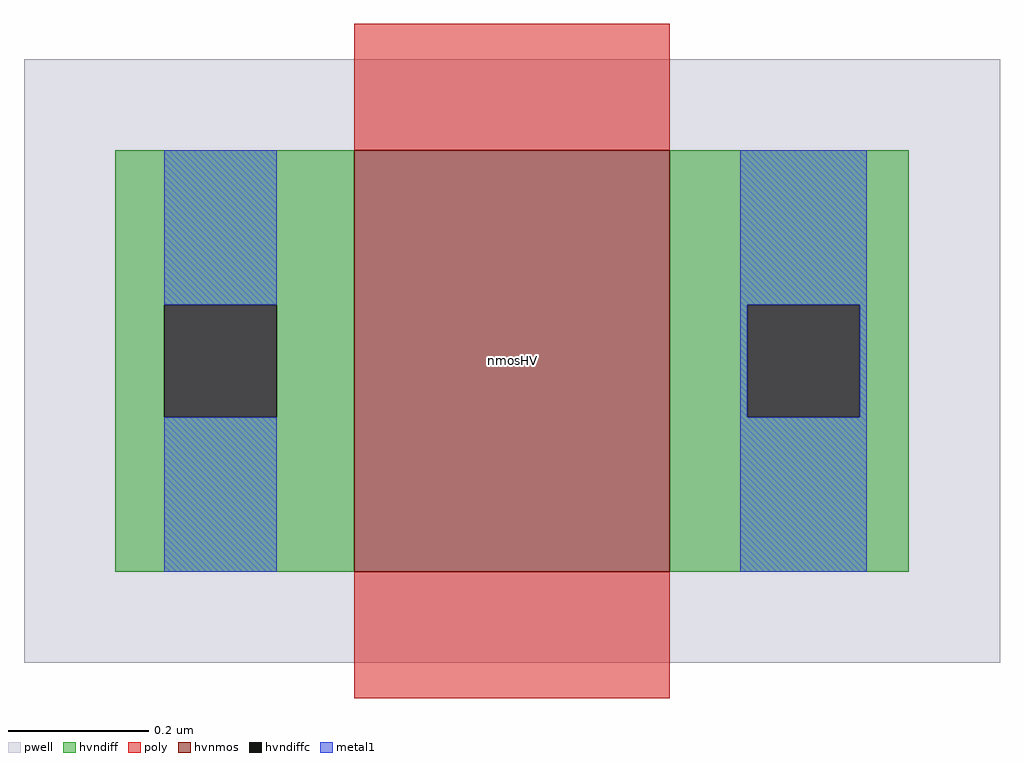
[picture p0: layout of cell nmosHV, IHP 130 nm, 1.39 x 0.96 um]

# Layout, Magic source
magic
tech ihp-sg13g2
magscale 1 2
<< pwell >>
rect -26 -26 252 146
<< hvnmos >>
rect 68 0 158 120
<< hvndiff >>
rect 0 76 68 120
rect 0 44 14 76
rect 46 44 68 76
rect 0 0 68 44
rect 158 76 226 120
rect 158 44 180 76
rect 212 44 226 76
rect 158 0 226 44
<< hvndiffc >>
rect 14 44 46 76
rect 180 44 212 76
<< poly >>
rect 68 120 158 156
rect 68 -36 158 0
<< metal1 >>
rect 14 76 46 120
rect 14 0 46 44
rect 178 76 214 120
rect 178 44 180 76
rect 212 44 214 76
rect 178 0 214 44
<< labels >>
flabel comment s 113 60 113 60 0 FreeSans 200 90 0 0 nmosHV
<< end >>
